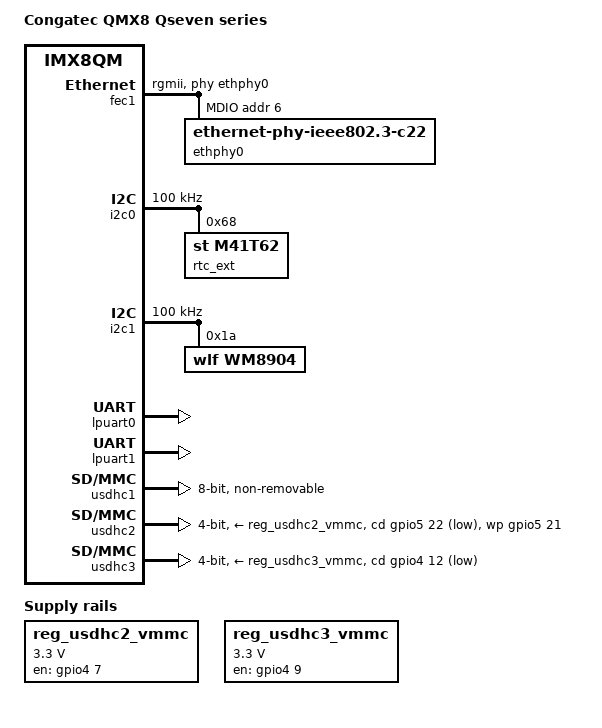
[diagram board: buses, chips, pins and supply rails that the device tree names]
// SPDX-License-Identifier: GPL-2.0+
/*
 * Copyright (C) 2016 Freescale Semiconductor, Inc.
 * Copyright 2017 NXP
 * Copyright 2017 congatec AG
 * Copyright (C) 2019 Oliver Graute <oliver.graute@kococonnector.com>
 */

/dts-v1/;

/* First 128KB is for PSCI ATF. */
/memreserve/ 0x80000000 0x00020000;

#include "fsl-imx8qm.dtsi"
#include "imx8qm-u-boot.dtsi"

/ {
	model = "Congatec QMX8 Qseven series";
	compatible = "fsl,imx8qm-qmx8", "fsl,imx8qm";

	chosen {
		bootargs = "console=ttyLP0,115200 earlycon=lpuart32,0x5a060000,115200";
		stdout-path = &lpuart0;
	};

	regulators {
		compatible = "simple-bus";
		#address-cells = <1>;
		#size-cells = <0>;

		reg_usdhc2_vmmc: usdhc2_vmmc {
			compatible = "regulator-fixed";
			regulator-name = "sw-3p3-sd1";
			regulator-min-microvolt = <3300000>;
			regulator-max-microvolt = <3300000>;
			gpio = <&gpio4 7 GPIO_ACTIVE_HIGH>;
			enable-active-high;
			off-on-delay-us = <3000>;
		};

		reg_usdhc3_vmmc: usdhc3_vmmc {
			compatible = "regulator-fixed";
			regulator-name = "sw-3p3-sd2";
			regulator-min-microvolt = <3300000>;
			regulator-max-microvolt = <3300000>;
			gpio = <&gpio4 9 GPIO_ACTIVE_HIGH>;
			enable-active-high;
			off-on-delay-us = <3000>;
		};
	};
};

&fec1 {
	pinctrl-names = "default";
	pinctrl-0 = <&pinctrl_fec1>;
	phy-mode = "rgmii";
	phy-handle = <&ethphy0>;
	fsl,magic-packet;
	fsl,rgmii_txc_dly;
	fsl,rgmii_rxc_dly;
	status = "okay";

	mdio {
		#address-cells = <1>;
		#size-cells = <0>;

		ethphy0: ethernet-phy@6 {
			compatible = "ethernet-phy-ieee802.3-c22";
			reg = <6>;
			at803x,eee-disabled;
			at803x,vddio-1p8v;
		};
	};
};

&gpio2 {
	status = "okay";
};

&gpio5 {
	status = "okay";
};

&i2c0 {
	#address-cells = <1>;
	#size-cells = <0>;
	pinctrl-names = "default";
	pinctrl-0 = <&pinctrl_lpi2c0>;
	clock-frequency = <100000>;
	status = "okay";

	rtc_ext: m41t62@68 {
		compatible = "st,m41t62";
		reg = <0x68>;
	};
};

&i2c1 {
	#address-cells = <1>;
	#size-cells = <0>;
	clock-frequency = <100000>;
	pinctrl-names = "default";
	pinctrl-0 = <&pinctrl_lpi2c1>;
	status = "okay";

	wm8904: wm8904@1a {
		compatible = "wlf,wm8904";
		reg = <0x1a>;

		clocks = <&clk IMX8QM_AUD_MCLKOUT0>;
		clock-names = "mclk";
		wlf,shared-lrclk;
		/* power-domains = <&pd_mclk_out0>; */

		assigned-clocks = <&clk IMX8QM_AUD_PLL0_DIV>,
				<&clk IMX8QM_AUD_ACM_AUD_PLL_CLK0_DIV>,
				<&clk IMX8QM_AUD_ACM_AUD_REC_CLK0_DIV>,
				<&clk IMX8QM_AUD_MCLKOUT0>;

		assigned-clock-rates = <786432000>, <49152000>, <24576000>;
	};
};

&iomuxc {
	pinctrl-names = "default";
	pinctrl-0 = <&pinctrl_hog>;

	imx8qm-qmx8 {

		pinctrl_hog: hoggrp{
			fsl,pins = <
				SC_P_M40_GPIO0_01_LSIO_GPIO0_IO09		0x00000021
				SC_P_USB_SS3_TC1_LSIO_GPIO4_IO04		0x00000021
				SC_P_M40_GPIO0_00_LSIO_GPIO0_IO08		0x00000021
				SC_P_ESAI1_SCKT_LSIO_GPIO2_IO07			0x00000021
				SC_P_SPDIF0_TX_LSIO_GPIO2_IO15			0x00000021
				SC_P_FLEXCAN1_RX_LSIO_GPIO3_IO31		0x00000021
				SC_P_ESAI1_TX0_LSIO_GPIO2_IO08			0x00000021
				SC_P_FLEXCAN1_TX_LSIO_GPIO4_IO00		0x00000021
				SC_P_ESAI1_TX1_LSIO_GPIO2_IO09			0x00000021
			>;
		};

		pinctrl_fec1: fec1grp {
			fsl,pins = <
				SC_P_ENET0_MDC_CONN_ENET0_MDC			0x06000020
				SC_P_ENET0_MDIO_CONN_ENET0_MDIO			0x06000020
				SC_P_ENET0_RGMII_TX_CTL_CONN_ENET0_RGMII_TX_CTL	0x06000020
				SC_P_ENET0_RGMII_TXC_CONN_ENET0_RGMII_TXC	0x06000020
				SC_P_ENET0_RGMII_TXD0_CONN_ENET0_RGMII_TXD0	0x06000020
				SC_P_ENET0_RGMII_TXD1_CONN_ENET0_RGMII_TXD1	0x06000020
				SC_P_ENET0_RGMII_TXD2_CONN_ENET0_RGMII_TXD2	0x06000020
				SC_P_ENET0_RGMII_TXD3_CONN_ENET0_RGMII_TXD3	0x06000020
				SC_P_ENET0_RGMII_RXC_CONN_ENET0_RGMII_RXC	0x06000020
				SC_P_ENET0_RGMII_RX_CTL_CONN_ENET0_RGMII_RX_CTL	0x06000020
				SC_P_ENET0_RGMII_RXD0_CONN_ENET0_RGMII_RXD0	0x06000020
				SC_P_ENET0_RGMII_RXD1_CONN_ENET0_RGMII_RXD1	0x06000020
				SC_P_ENET0_RGMII_RXD2_CONN_ENET0_RGMII_RXD2	0x06000020
				SC_P_ENET0_RGMII_RXD3_CONN_ENET0_RGMII_RXD3	0x06000020
			>;
		};

		pinctrl_lpi2c0: lpi2c0grp {
			fsl,pins = <
				SC_P_HDMI_TX0_TS_SCL_DMA_I2C0_SCL	0xc600004c
				SC_P_HDMI_TX0_TS_SDA_DMA_I2C0_SDA	0xc600004c
			>;
		};

		pinctrl_lpi2c1: lpi2c1grp {
			fsl,pins = <
				SC_P_GPT0_CLK_DMA_I2C1_SCL		0xc600004c
				SC_P_GPT0_CAPTURE_DMA_I2C1_SDA		0xc600004c
			>;
		};

		pinctrl_lpuart0: lpuart0grp {
			fsl,pins = <
				SC_P_UART0_RX_DMA_UART0_RX		0x06000020
				SC_P_UART0_TX_DMA_UART0_TX		0x06000020
			>;
		};

		pinctrl_lpuart1: lpuart1grp {
			fsl,pins = <
				SC_P_UART1_RX_DMA_UART1_RX		0x06000020
				SC_P_UART1_TX_DMA_UART1_TX		0x06000020
				SC_P_UART1_CTS_B_DMA_UART1_CTS_B	0x06000020
				SC_P_UART1_RTS_B_DMA_UART1_RTS_B	0x06000020
			>;
		};

		pinctrl_lpuart3: lpuart3grp {
			fsl,pins = <
				SC_P_M41_GPIO0_00_DMA_UART3_RX		0x06000020
				SC_P_M41_GPIO0_01_DMA_UART3_TX		0x06000020
			>;
		};

		pinctrl_mlb: mlbgrp {
			fsl,pins = <
				SC_P_MLB_SIG_CONN_MLB_SIG		0x21
				SC_P_MLB_CLK_CONN_MLB_CLK		0x21
				SC_P_MLB_DATA_CONN_MLB_DATA		0x21
			>;
		};

		pinctrl_isl29023: isl29023grp {
			fsl,pins = <
				SC_P_ADC_IN2_LSIO_GPIO3_IO20		0x00000021
			>;
		};

		pinctrl_usdhc1: usdhc1grp {
			fsl,pins = <
				SC_P_EMMC0_CLK_CONN_EMMC0_CLK		0x06000041
				SC_P_EMMC0_CMD_CONN_EMMC0_CMD		0x00000021
				SC_P_EMMC0_DATA0_CONN_EMMC0_DATA0	0x00000021
				SC_P_EMMC0_DATA1_CONN_EMMC0_DATA1	0x00000021
				SC_P_EMMC0_DATA2_CONN_EMMC0_DATA2	0x00000021
				SC_P_EMMC0_DATA3_CONN_EMMC0_DATA3	0x00000021
				SC_P_EMMC0_DATA4_CONN_EMMC0_DATA4	0x00000021
				SC_P_EMMC0_DATA5_CONN_EMMC0_DATA5	0x00000021
				SC_P_EMMC0_DATA6_CONN_EMMC0_DATA6	0x00000021
				SC_P_EMMC0_DATA7_CONN_EMMC0_DATA7	0x00000021
				SC_P_EMMC0_STROBE_CONN_EMMC0_STROBE	0x00000041
				SC_P_EMMC0_RESET_B_CONN_EMMC0_RESET_B	0x00000021
			>;
		};

		pinctrl_usdhc1_100mhz: usdhc1grp100mhz {
			fsl,pins = <
				SC_P_EMMC0_CLK_CONN_EMMC0_CLK		0x06000040
				SC_P_EMMC0_CMD_CONN_EMMC0_CMD		0x00000020
				SC_P_EMMC0_DATA0_CONN_EMMC0_DATA0	0x00000020
				SC_P_EMMC0_DATA1_CONN_EMMC0_DATA1	0x00000020
				SC_P_EMMC0_DATA2_CONN_EMMC0_DATA2	0x00000020
				SC_P_EMMC0_DATA3_CONN_EMMC0_DATA3	0x00000020
				SC_P_EMMC0_DATA4_CONN_EMMC0_DATA4	0x00000020
				SC_P_EMMC0_DATA5_CONN_EMMC0_DATA5	0x00000020
				SC_P_EMMC0_DATA6_CONN_EMMC0_DATA6	0x00000020
				SC_P_EMMC0_DATA7_CONN_EMMC0_DATA7	0x00000020
				SC_P_EMMC0_STROBE_CONN_EMMC0_STROBE	0x00000040
				SC_P_EMMC0_RESET_B_CONN_EMMC0_RESET_B	0x00000020
			>;
		};

		pinctrl_usdhc1_200mhz: usdhc1grp200mhz {
			fsl,pins = <
				SC_P_EMMC0_CLK_CONN_EMMC0_CLK		0x06000040
				SC_P_EMMC0_CMD_CONN_EMMC0_CMD		0x00000020
				SC_P_EMMC0_DATA0_CONN_EMMC0_DATA0	0x00000020
				SC_P_EMMC0_DATA1_CONN_EMMC0_DATA1	0x00000020
				SC_P_EMMC0_DATA2_CONN_EMMC0_DATA2	0x00000020
				SC_P_EMMC0_DATA3_CONN_EMMC0_DATA3	0x00000020
				SC_P_EMMC0_DATA4_CONN_EMMC0_DATA4	0x00000020
				SC_P_EMMC0_DATA5_CONN_EMMC0_DATA5	0x00000020
				SC_P_EMMC0_DATA6_CONN_EMMC0_DATA6	0x00000020
				SC_P_EMMC0_DATA7_CONN_EMMC0_DATA7	0x00000020
				SC_P_EMMC0_STROBE_CONN_EMMC0_STROBE	0x00000040
				SC_P_EMMC0_RESET_B_CONN_EMMC0_RESET_B	0x00000020
			>;
		};

		pinctrl_usdhc2_gpio: usdhc2grpgpio {
			fsl,pins = <
				SC_P_USDHC1_DATA6_LSIO_GPIO5_IO21	0x00000021
				SC_P_USDHC1_DATA7_LSIO_GPIO5_IO22	0x00000021
				SC_P_USDHC1_RESET_B_LSIO_GPIO4_IO07	0x00000021
			>;
		};

		pinctrl_usdhc2: usdhc2grp {
			fsl,pins = <
				SC_P_USDHC1_CLK_CONN_USDHC1_CLK		0x06000041
				SC_P_USDHC1_CMD_CONN_USDHC1_CMD		0x00000021
				SC_P_USDHC1_DATA0_CONN_USDHC1_DATA0	0x00000021
				SC_P_USDHC1_DATA1_CONN_USDHC1_DATA1	0x00000021
				SC_P_USDHC1_DATA2_CONN_USDHC1_DATA2	0x00000021
				SC_P_USDHC1_DATA3_CONN_USDHC1_DATA3	0x00000021
				SC_P_USDHC1_VSELECT_CONN_USDHC1_VSELECT	0x00000021
			>;
		};

		pinctrl_usdhc2_100mhz: usdhc2grp100mhz {
			fsl,pins = <
				SC_P_USDHC1_CLK_CONN_USDHC1_CLK		0x06000040
				SC_P_USDHC1_CMD_CONN_USDHC1_CMD		0x00000020
				SC_P_USDHC1_DATA0_CONN_USDHC1_DATA0	0x00000020
				SC_P_USDHC1_DATA1_CONN_USDHC1_DATA1	0x00000020
				SC_P_USDHC1_DATA2_CONN_USDHC1_DATA2	0x00000020
				SC_P_USDHC1_DATA3_CONN_USDHC1_DATA3	0x00000020
				SC_P_USDHC1_VSELECT_CONN_USDHC1_VSELECT	0x00000020
			>;
		};

		pinctrl_usdhc2_200mhz: usdhc2grp200mhz {
			fsl,pins = <
				SC_P_USDHC1_CLK_CONN_USDHC1_CLK		0x06000040
				SC_P_USDHC1_CMD_CONN_USDHC1_CMD		0x00000020
				SC_P_USDHC1_DATA0_CONN_USDHC1_DATA0	0x00000020
				SC_P_USDHC1_DATA1_CONN_USDHC1_DATA1	0x00000020
				SC_P_USDHC1_DATA2_CONN_USDHC1_DATA2	0x00000020
				SC_P_USDHC1_DATA3_CONN_USDHC1_DATA3	0x00000020
				SC_P_USDHC1_VSELECT_CONN_USDHC1_VSELECT	0x00000020
			>;
		};

		pinctrl_usdhc3_gpio: usdhc3grpgpio {
			fsl,pins = <
				SC_P_USDHC2_RESET_B_LSIO_GPIO4_IO09	0x00000021
				SC_P_USDHC2_CD_B_LSIO_GPIO4_IO12	0x00000021
			>;
		};

		pinctrl_usdhc3: usdhc3grp {
			fsl,pins = <
				SC_P_USDHC2_CLK_CONN_USDHC2_CLK		0x06000041
				SC_P_USDHC2_CMD_CONN_USDHC2_CMD		0x00000021
				SC_P_USDHC2_DATA0_CONN_USDHC2_DATA0	0x00000021
				SC_P_USDHC2_DATA1_CONN_USDHC2_DATA1	0x00000021
				SC_P_USDHC2_DATA2_CONN_USDHC2_DATA2	0x00000021
				SC_P_USDHC2_DATA3_CONN_USDHC2_DATA3	0x00000021
				SC_P_USDHC2_VSELECT_CONN_USDHC2_VSELECT	0x00000021
			>;
		};

		pinctrl_usdhc3_100mhz: usdhc3grp100mhz {
			fsl,pins = <
				SC_P_USDHC2_CLK_CONN_USDHC2_CLK		0x06000040
				SC_P_USDHC2_CMD_CONN_USDHC2_CMD		0x00000020
				SC_P_USDHC2_DATA0_CONN_USDHC2_DATA0	0x00000020
				SC_P_USDHC2_DATA1_CONN_USDHC2_DATA1	0x00000020
				SC_P_USDHC2_DATA2_CONN_USDHC2_DATA2	0x00000020
				SC_P_USDHC2_DATA3_CONN_USDHC2_DATA3	0x00000020
				SC_P_USDHC2_VSELECT_CONN_USDHC2_VSELECT	0x00000020
			>;
		};

		pinctrl_usdhc3_200mhz: usdhc3grp200mhz {
			fsl,pins = <
				SC_P_USDHC2_CLK_CONN_USDHC2_CLK		0x06000040
				SC_P_USDHC2_CMD_CONN_USDHC2_CMD		0x00000020
				SC_P_USDHC2_DATA0_CONN_USDHC2_DATA0	0x00000020
				SC_P_USDHC2_DATA1_CONN_USDHC2_DATA1	0x00000020
				SC_P_USDHC2_DATA2_CONN_USDHC2_DATA2	0x00000020
				SC_P_USDHC2_DATA3_CONN_USDHC2_DATA3	0x00000020
				SC_P_USDHC2_VSELECT_CONN_USDHC2_VSELECT	0x00000020
			>;
		};
	};
};

&lpuart0 { /* console */
	pinctrl-names = "default";
	pinctrl-0 = <&pinctrl_lpuart0>;
	status = "okay";
};

&lpuart1 { /* Q7 connector */
	pinctrl-names = "default";
	pinctrl-0 = <&pinctrl_lpuart1>;
	status = "okay";
};

&pd_dma_lpuart0 {
	debug_console;
};

&usdhc1 {
	pinctrl-names = "default", "state_100mhz", "state_200mhz";
	pinctrl-0 = <&pinctrl_usdhc1>;
	pinctrl-1 = <&pinctrl_usdhc1_100mhz>;
	pinctrl-2 = <&pinctrl_usdhc1_200mhz>;
	bus-width = <8>;
	non-removable;
	status = "okay";
};

&usdhc2 {
	pinctrl-names = "default", "state_100mhz", "state_200mhz";
	pinctrl-0 = <&pinctrl_usdhc2>, <&pinctrl_usdhc2_gpio>;
	pinctrl-1 = <&pinctrl_usdhc2_100mhz>, <&pinctrl_usdhc2_gpio>;
	pinctrl-2 = <&pinctrl_usdhc2_200mhz>, <&pinctrl_usdhc2_gpio>;
	bus-width = <4>;
	cd-gpios = <&gpio5 22 GPIO_ACTIVE_LOW>;
	wp-gpios = <&gpio5 21 GPIO_ACTIVE_HIGH>;
	vmmc-supply = <&reg_usdhc2_vmmc>;
	fsl,tuning-start-tap = <20>;
	fsl,tuning-step= <2>;
	status = "okay";
};

&usdhc3 {
	pinctrl-names = "default", "state_100mhz", "state_200mhz";
	pinctrl-0 = <&pinctrl_usdhc3>, <&pinctrl_usdhc3_gpio>;
	pinctrl-1 = <&pinctrl_usdhc3_100mhz>, <&pinctrl_usdhc3_gpio>;
	pinctrl-2 = <&pinctrl_usdhc3_200mhz>, <&pinctrl_usdhc3_gpio>;
	bus-width = <4>;
	cd-gpios = <&gpio4 12 GPIO_ACTIVE_LOW>;
	vmmc-supply = <&reg_usdhc3_vmmc>;
	fsl,tuning-start-tap = <20>;
	fsl,tuning-step= <2>;
	status = "okay";
};
